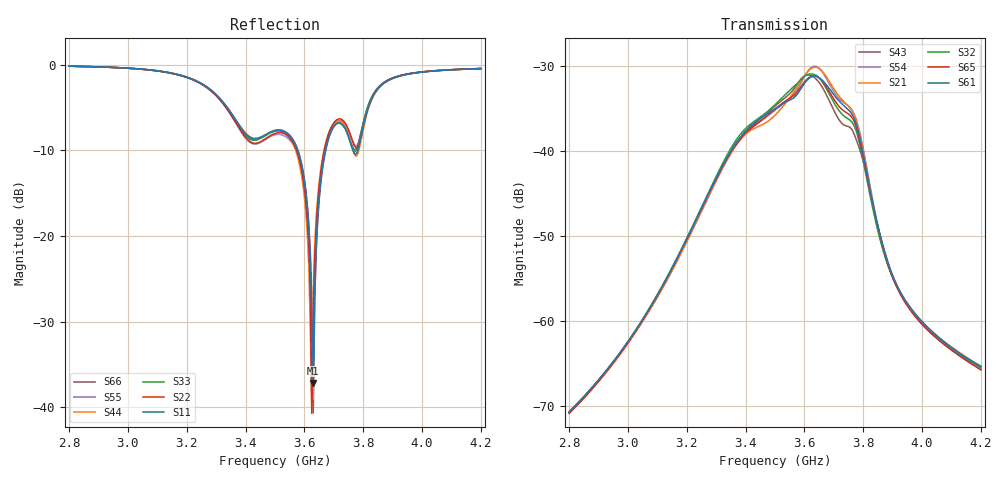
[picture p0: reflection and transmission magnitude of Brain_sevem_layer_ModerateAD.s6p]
! Touchstone file exported from HFSS 2024.2.0
!  File:  C:/Users/Admin/Downloads/Brain_sevem_layer.aedt
!  Generated:  02:58:40 PM Sep 26, 2026
!  Design:  ModerateAD
!  Project:  Brain_sevem_layer
!  Setup:  Setup1
!  Solution:  Sweep
! Variables:
!  $L = 85mm
!  $W = 35mm
!  H = 1.575mm
!  L = 42mm
!  W = 35mm
!  Wb = 6mm
!  a = 3.5mm
!  ant_dist = 115mm
!  ant_gap = 3mm
!  b = 5mm
!  c = 5mm
!  d = 2mm
!  g1 = 2mm
!  g2 = 2mm
!  g3 = 1mm
!  g4 = 2mm
!  gap = 10mm
!  r1 = 3.5mm
!  r2 = 6mm
!  r_brain = 95mm
!  r_brain_ad = 61.68mm
!  r_csf = 95.5mm
!  r_csf_expanded = 64.6mm
!  r_csf_inner = 61.68mm
!  r_csf_outer = 83.5mm
!  r_fat = 87.5mm
!  r_gray = 70.55mm
!  r_gray_moderate = 66.05mm
!  r_hippo_moderate = 12.5mm
!  r_skin = 88mm
!  r_skull = 86.5mm
!  r_white = 17.5mm
!  r_white_moderate = 60.8mm
!  slot_distance = 15mm
!  wc = 12mm
!  y1 = 15mm
!  y2 = 5mm
!  y4 = 11mm
!  z_ebg = -94.575mm
! Terminal data exported
! Port[1] = FEED_3_T4
! Port[2] = FEED_3_T3
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# GHz S MA R 50.000000
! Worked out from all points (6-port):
!   281 points, 2.8 GHz to 4.2 GHz, reference 50 ohm
!   strongest paths, dB at 2.8 GHz, 3.15 GHz, 3.5 GHz, 3.85 GHz, 4.2 GHz:
!     S61: -70.7, -53.8, -35.0, -48.8, -65.3
!     S65: -70.8, -53.8, -35.1, -48.9, -65.7
!     S32: -70.7, -53.7, -34.6, -49.4, -65.4
!     S21: -70.8, -54.0, -35.8, -49.0, -65.3
!     S54: -70.8, -54.1, -35.2, -48.9, -65.7
!     S43: -70.8, -53.8, -34.7, -49.2, -65.5
!   lowest |S11| = -37.2 dB at 3.63 GHz (marker M1), VSWR 1.03, Z = 51.4 - j0.0094 ohm
!   |S11| at or under -10 dB: 3.577 GHz to 3.671 GHz (94.54 MHz wide, 2.61 % of centre); 3.76484 GHz to 3.781659 GHz (16.82 MHz wide, 0.446 % of centre)
